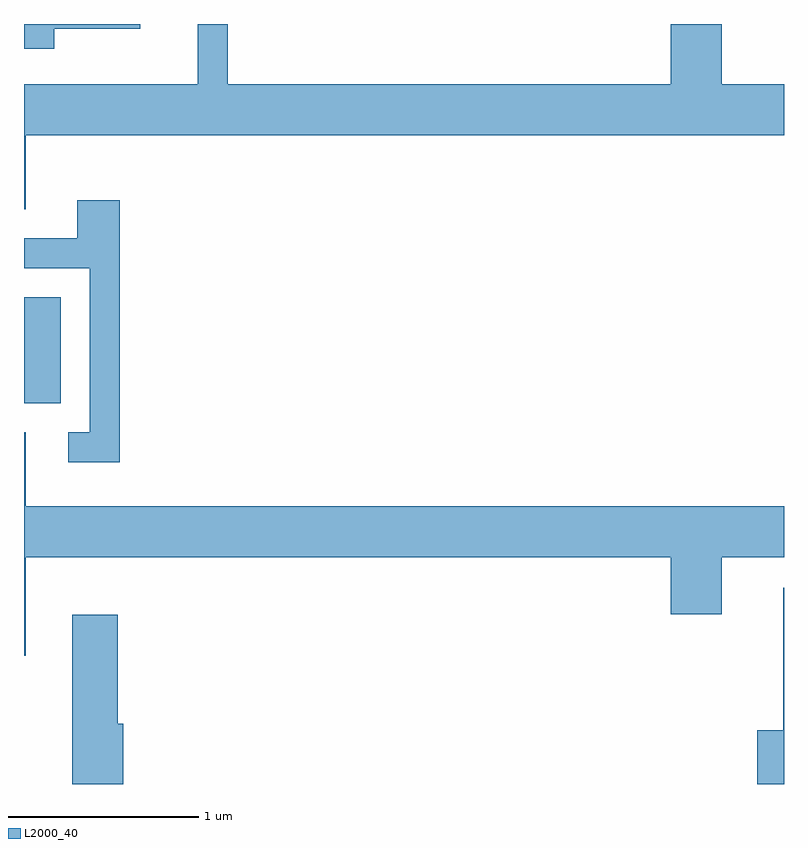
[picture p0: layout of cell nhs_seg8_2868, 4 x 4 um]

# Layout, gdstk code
import gdstk
lib = gdstk.Library(unit=1e-6, precision=1e-09)
def R(c, l, rs):  # rectangles x0, y0, x1, y1
    for r in rs: c.add(gdstk.rectangle(r[:2], r[2:], *l))
def P(c, l, *ps):  # polygons
    for p in ps: c.add(gdstk.Polygon(p, *l))
L2000_40 = (2000, 40)

nhs_seg8_2868 = lib.new_cell('nhs_seg8_2868')
R(nhs_seg8_2868, L2000_40, [(271.611,1828.346,271.804,1828.904)])
P(nhs_seg8_2868, L2000_40, [(275.611,1830.024),(275.284,1830.024),(275.284,1830.342),(275.016,1830.342),(275.016,1830.024),(272.684,1830.024),(272.684,1830.342),(272.526,1830.342),(272.526,1830.024),(271.611,1830.024),(271.611,1829.366),(271.619,1829.366),(271.619,1829.756),(275.611,1829.756)],
  [(271.769,1830.316),(272.224,1830.316),(272.224,1830.342),(271.611,1830.342),(271.611,1830.213),(271.769,1830.213)],
  [(272.114,1829.414),(271.891,1829.414),(271.891,1829.214),(271.611,1829.214),(271.611,1829.056),(271.956,1829.056),(271.956,1828.194),(271.843,1828.194),(271.843,1828.036),(272.114,1828.036)],
  [(271.619,1827.536),(275.016,1827.536),(275.016,1827.236),(275.284,1827.236),(275.284,1827.536),(275.611,1827.536),(275.611,1827.804),(271.619,1827.804),(271.619,1828.194),(271.611,1828.194),(271.611,1827.016),(271.619,1827.016)],
  [(275.611,1827.374),(275.606,1827.374),(275.606,1826.624),(275.471,1826.624),(275.471,1826.342),(275.611,1826.342)],
  [(272.134,1826.659),(272.104,1826.659),(272.104,1827.234),(271.866,1827.234),(271.866,1826.342),(272.134,1826.342)])

lib.write_gds('nhs_seg8_2868.gds')
